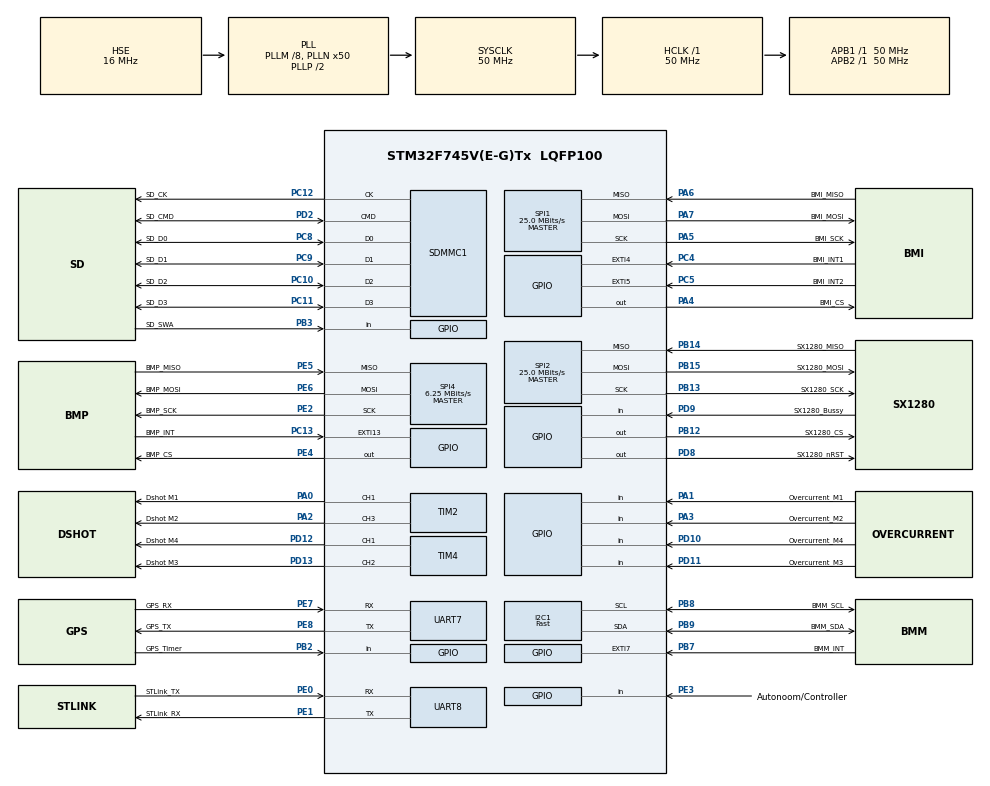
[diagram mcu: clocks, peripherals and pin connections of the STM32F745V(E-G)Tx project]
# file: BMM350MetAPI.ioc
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CORTEX_M7.default_mode_Activation=1
Dma.Request0=TIM4_CH1
Dma.Request1=TIM4_CH2
Dma.Request2=TIM2_UP/CH3
Dma.Request3=TIM2_CH1
Dma.TIM2_CH1.3.Direction=DMA_MEMORY_TO_PERIPH
Dma.TIM2_CH1.3.FIFOMode=DMA_FIFOMODE_DISABLE
Dma.TIM2_CH1.3.Instance=DMA1_Stream5
Dma.TIM2_CH1.3.MemDataAlignment=DMA_MDATAALIGN_WORD
Dma.TIM2_CH1.3.MemInc=DMA_MINC_ENABLE
Dma.TIM2_CH1.3.Mode=DMA_NORMAL
Dma.TIM2_CH1.3.PeriphDataAlignment=DMA_PDATAALIGN_WORD
Dma.TIM2_CH1.3.PeriphInc=DMA_PINC_DISABLE
Dma.TIM2_CH1.3.Priority=DMA_PRIORITY_VERY_HIGH
Dma.TIM2_UP/CH3.2.Direction=DMA_MEMORY_TO_PERIPH
Dma.TIM2_UP/CH3.2.FIFOMode=DMA_FIFOMODE_DISABLE
Dma.TIM2_UP/CH3.2.Instance=DMA1_Stream1
Dma.TIM2_UP/CH3.2.MemDataAlignment=DMA_MDATAALIGN_WORD
Dma.TIM2_UP/CH3.2.MemInc=DMA_MINC_ENABLE
Dma.TIM2_UP/CH3.2.Mode=DMA_NORMAL
Dma.TIM2_UP/CH3.2.PeriphDataAlignment=DMA_PDATAALIGN_WORD
Dma.TIM2_UP/CH3.2.PeriphInc=DMA_PINC_DISABLE
Dma.TIM2_UP/CH3.2.Priority=DMA_PRIORITY_VERY_HIGH
Dma.TIM4_CH1.0.Direction=DMA_MEMORY_TO_PERIPH
Dma.TIM4_CH1.0.FIFOMode=DMA_FIFOMODE_DISABLE
Dma.TIM4_CH1.0.Instance=DMA1_Stream0
Dma.TIM4_CH1.0.MemDataAlignment=DMA_MDATAALIGN_HALFWORD
Dma.TIM4_CH1.0.MemInc=DMA_MINC_ENABLE
Dma.TIM4_CH1.0.Mode=DMA_NORMAL
Dma.TIM4_CH1.0.PeriphDataAlignment=DMA_PDATAALIGN_HALFWORD
Dma.TIM4_CH1.0.PeriphInc=DMA_PINC_DISABLE
Dma.TIM4_CH1.0.Priority=DMA_PRIORITY_VERY_HIGH
Dma.TIM4_CH2.1.Direction=DMA_MEMORY_TO_PERIPH
Dma.TIM4_CH2.1.FIFOMode=DMA_FIFOMODE_DISABLE
Dma.TIM4_CH2.1.Instance=DMA1_Stream3
Dma.TIM4_CH2.1.MemDataAlignment=DMA_MDATAALIGN_HALFWORD
Dma.TIM4_CH2.1.MemInc=DMA_MINC_ENABLE
Dma.TIM4_CH2.1.Mode=DMA_NORMAL
Dma.TIM4_CH2.1.PeriphDataAlignment=DMA_PDATAALIGN_HALFWORD
Dma.TIM4_CH2.1.PeriphInc=DMA_PINC_DISABLE
Dma.TIM4_CH2.1.Priority=DMA_PRIORITY_VERY_HIGH
FATFS.BSP.number=1
FATFS0.BSP.STBoard=false
FATFS0.BSP.api=Unknown
FATFS0.BSP.instance=PB3
FATFS0.BSP.ip=GPIO
FATFS0.BSP.mode=Input
FATFS0.BSP.name=Detect_SDIO
FATFS0.BSP.solution=PB3
I2C1.I2C_Speed_Mode=I2C_Fast
I2C1.Timing=0x00401959
Mcu.Family=STM32F7
Mcu.Name=STM32F745V(E-G)Tx
Mcu.Package=LQFP100
NVIC.DMA1_Stream0_IRQn=true\:0\:0\:false\:false\:true\:false\:true\:true
NVIC.DMA1_Stream1_IRQn=true\:0\:0\:false\:false\:true\:false\:true\:true
NVIC.DMA1_Stream3_IRQn=true\:0\:0\:false\:false\:true\:false\:true\:true
NVIC.DMA1_Stream5_IRQn=true\:0\:0\:false\:false\:true\:false\:true\:true
NVIC.EXTI15_10_IRQn=true\:0\:0\:false\:false\:true\:true\:true\:true
NVIC.EXTI4_IRQn=true\:3\:0\:true\:false\:true\:true\:true\:true
NVIC.EXTI9_5_IRQn=true\:3\:0\:true\:false\:true\:true\:true\:true
NVIC.PriorityGroup=NVIC_PRIORITYGROUP_4
PA0/WKUP.GPIO_Label=Dshot M1
PA0/WKUP.Signal=S_TIM2_CH1_ETR
PA1.GPIO_Label=Overcurrent_M1
PA1.Signal=GPIO_Input
PA13.GPIO_Label=STLink_DIO
PA13.Mode=Serial_Wire
PA13.Signal=SYS_JTMS-SWDIO
PA14.GPIO_Label=STLink_CLK
PA14.Mode=Serial_Wire
PA14.Signal=SYS_JTCK-SWCLK
PA2.GPIO_Label=Dshot M2
PA2.Signal=S_TIM2_CH3
PA3.GPIO_Label=Overcurrent_M2
PA3.Signal=GPIO_Input
PA4.GPIO_Label=BMI_CS
PA4.Signal=GPIO_Output
PA5.GPIO_Label=BMI_SCK
PA5.Mode=Full_Duplex_Master
PA5.Signal=SPI1_SCK
PA6.GPIO_Label=BMI_MISO
PA6.Mode=Full_Duplex_Master
PA6.Signal=SPI1_MISO
PA7.GPIO_Label=BMI_MOSI
PA7.Mode=Full_Duplex_Master
PA7.Signal=SPI1_MOSI
PB12.GPIO_Label=SX1280_CS
PB12.Signal=GPIO_Output
PB13.GPIO_Label=SX1280_SCK
PB13.Mode=Full_Duplex_Master
PB13.Signal=SPI2_SCK
PB14.GPIO_Label=SX1280_MISO
PB14.Mode=Full_Duplex_Master
PB14.Signal=SPI2_MISO
PB15.GPIO_Label=SX1280_MOSI
PB15.Mode=Full_Duplex_Master
PB15.Signal=SPI2_MOSI
PB2.GPIO_Label=GPS_Timer
PB2.Signal=GPIO_Input
PB3.GPIO_Label=SD_SWA
PB3.Signal=GPIO_Input
PB7.GPIO_Label=BMM_INT
PB7.Signal=GPXTI7
PB8.GPIO_Label=BMM_SCL
PB8.Mode=I2C
PB8.Signal=I2C1_SCL
PB9.GPIO_Label=BMM_SDA
PB9.Mode=I2C
PB9.Signal=I2C1_SDA
PC10.GPIO_Label=SD_D2
PC10.Mode=SD_4_bits_Wide_bus
PC10.Signal=SDMMC1_D2
PC11.GPIO_Label=SD_D3
PC11.Mode=SD_4_bits_Wide_bus
PC11.Signal=SDMMC1_D3
PC12.GPIO_Label=SD_CK
PC12.Mode=SD_4_bits_Wide_bus
PC12.Signal=SDMMC1_CK
PC13.GPIO_Label=BMP_INT
PC13.Signal=GPXTI13
PC4.GPIO_Label=BMI_INT1
PC4.Signal=GPXTI4
PC5.GPIO_Label=BMI_INT2
PC5.Signal=GPXTI5
PC8.GPIO_Label=SD_D0
PC8.Mode=SD_4_bits_Wide_bus
PC8.Signal=SDMMC1_D0
PC9.GPIO_Label=SD_D1
PC9.Mode=SD_4_bits_Wide_bus
PC9.Signal=SDMMC1_D1
PD10.GPIO_Label=Overcurrent_M4
PD10.Signal=GPIO_Input
PD11.GPIO_Label=Overcurrent_M3
PD11.Signal=GPIO_Input
PD12.GPIO_Label=Dshot M4
PD12.Signal=S_TIM4_CH1
PD13.GPIO_Label=Dshot M3
PD13.Signal=S_TIM4_CH2
PD2.GPIO_Label=SD_CMD
PD2.Mode=SD_4_bits_Wide_bus
PD2.Signal=SDMMC1_CMD
PD8.GPIO_Label=SX1280_nRST
PD8.Signal=GPIO_Output
PD9.GPIO_Label=SX1280_Bussy
PD9.Signal=GPIO_Input
PE0.GPIO_Label=STLink_TX
PE0.Mode=Asynchronous
PE0.Signal=UART8_RX
PE1.GPIO_Label=STLink_RX
PE1.Mode=Asynchronous
PE1.Signal=UART8_TX
PE2.GPIO_Label=BMP_SCK
PE2.Mode=Full_Duplex_Master
PE2.Signal=SPI4_SCK
PE3.GPIO_Label=Autonoom/Controller
PE3.Signal=GPIO_Input
PE4.GPIO_Label=BMP_CS
PE4.Signal=GPIO_Output
PE5.GPIO_Label=BMP_MISO
PE5.Mode=Full_Duplex_Master
PE5.Signal=SPI4_MISO
PE6.GPIO_Label=BMP_MOSI
PE6.Mode=Full_Duplex_Master
PE6.Signal=SPI4_MOSI
PE7.GPIO_Label=GPS_RX
PE7.Mode=Asynchronous
PE7.Signal=UART7_RX
PE8.GPIO_Label=GPS_TX
PE8.Mode=Asynchronous
PE8.Signal=UART7_TX
PH0/OSC_IN.Mode=HSE-External-Oscillator
PH0/OSC_IN.Signal=RCC_OSC_IN
PH1/OSC_OUT.Mode=HSE-External-Oscillator
PH1/OSC_OUT.Signal=RCC_OSC_OUT
ProjectManager.HeapSize=0x200
ProjectManager.StackSize=0x400
ProjectManager.TargetToolchain=STM32CubeIDE
RCC.AHBFreq_Value=50000000
RCC.APB1Freq_Value=50000000
RCC.APB1TimFreq_Value=50000000
RCC.APB2Freq_Value=50000000
RCC.APB2TimFreq_Value=50000000
RCC.CortexFreq_Value=50000000
RCC.HCLKFreq_Value=50000000
RCC.HSE_VALUE=16000000
RCC.HSI_VALUE=16000000
RCC.LSE_VALUE=32768
RCC.PLLM=8
RCC.PLLN=50
RCC.PLLSourceVirtual=RCC_PLLSOURCE_HSE
RCC.SDMMCClockSelection=RCC_SDMMC1CLKSOURCE_CLK48
RCC.SYSCLKFreq_VALUE=50000000
RCC.SYSCLKSource=RCC_SYSCLKSOURCE_PLLCLK
RCC.USBFreq_Value=50000000
RCC.VCOOutputFreq_Value=100000000
SDMMC1.ClockBypass=SDMMC_CLOCK_BYPASS_DISABLE
SH.S_TIM2_CH1_ETR.0=TIM2_CH1,PWM Generation1 CH1
SH.S_TIM2_CH3.0=TIM2_CH3,PWM Generation3 CH3
SH.S_TIM4_CH1.0=TIM4_CH1,PWM Generation1 CH1
SH.S_TIM4_CH2.0=TIM4_CH2,PWM Generation2 CH2
SPI1.CLKPhase=SPI_PHASE_2EDGE
SPI1.CLKPolarity=SPI_POLARITY_HIGH
SPI1.CalculateBaudRate=25.0 MBits/s
SPI1.DataSize=SPI_DATASIZE_8BIT
SPI1.Direction=SPI_DIRECTION_2LINES
SPI1.Mode=SPI_MODE_MASTER
SPI1.VirtualType=VM_MASTER
SPI2.BaudRatePrescaler=SPI_BAUDRATEPRESCALER_2
SPI2.CalculateBaudRate=25.0 MBits/s
SPI2.DataSize=SPI_DATASIZE_8BIT
SPI2.Direction=SPI_DIRECTION_2LINES
SPI2.Mode=SPI_MODE_MASTER
SPI2.NSSPMode=SPI_NSS_PULSE_DISABLE
SPI2.VirtualType=VM_MASTER
SPI4.BaudRatePrescaler=SPI_BAUDRATEPRESCALER_8
SPI4.CLKPhase=SPI_PHASE_1EDGE
SPI4.CLKPolarity=SPI_POLARITY_LOW
SPI4.CalculateBaudRate=6.25 MBits/s
SPI4.DataSize=SPI_DATASIZE_8BIT
SPI4.Direction=SPI_DIRECTION_2LINES
SPI4.Mode=SPI_MODE_MASTER
SPI4.VirtualType=VM_MASTER
TIM2.Channel-PWM\ Generation1\ CH1=TIM_CHANNEL_1
TIM2.Channel-PWM\ Generation3\ CH3=TIM_CHANNEL_3
TIM4.Channel-PWM\ Generation1\ CH1=TIM_CHANNEL_1
TIM4.Channel-PWM\ Generation2\ CH2=TIM_CHANNEL_2
VP_FATFS_VS_SDIO.Mode=SDIO
board=custom

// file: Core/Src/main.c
/* USER CODE BEGIN Header */
/**
  ******************************************************************************
  * @file           : main.c
  * @brief          : Main program body
  ******************************************************************************
  * @attention
  *
  * Copyright (c) 2026 STMicroelectronics.
  * All rights reserved.
  *
  * This software is licensed under terms that can be found in the LICENSE file
  * in the root directory of this software component.
  * If no LICENSE file comes with this software, it is provided AS-IS.
  *
  ******************************************************************************
  */
/* USER CODE END Header */
#include "main.h"
#include "fatfs.h"

/* USER CODE BEGIN Includes */
#include "stdio.h"
#include "bmm350.h"
#include "bmm350_oor.h"
#include "bmm350_defs.h"
//#include "BMM350.h"
//#include "BMI330.h"
//#include "pid_regulator.h"
/* USER CODE END Includes */

I2C_HandleTypeDef hi2c1;

SD_HandleTypeDef hsd1;

SPI_HandleTypeDef hspi1;
SPI_HandleTypeDef hspi2;
SPI_HandleTypeDef hspi4;

TIM_HandleTypeDef htim2;
TIM_HandleTypeDef htim4;
DMA_HandleTypeDef hdma_tim2_up_ch3;
DMA_HandleTypeDef hdma_tim2_ch1;
DMA_HandleTypeDef hdma_tim4_ch1;
DMA_HandleTypeDef hdma_tim4_ch2;

UART_HandleTypeDef huart7;
UART_HandleTypeDef huart8;

/* USER CODE BEGIN PV */
//BMP384_Calib calibData;
struct bmm350_dev dev;
struct bmm350_raw_mag_data raw_data;
struct bmm350_mag_temp_data comp_data;
struct bmm350_self_test test;

/*
PID_Handle_t struct_PidRateRoll;
PID_Handle_t struct_PidRatePitch;
PID_Handle_t struct_PidRateYaw;
BMM350_MagData BMM350_Data;
BMI330_Frame current_data;
*/

float g_hoogte;
float g_druk;
float g_hoek;
int g_acc;
int g_gyr;
float alpha = 0.98; // hoe hoger hoe meer de acc gaat doortellen
float dt = 0.02;   // voor 50hz
float gefilterde_hoogte = 0;
float verticale_snelheid = 0;
/* USER CODE END PV */

void SystemClock_Config(void);
static void MPU_Config(void);
static void MX_GPIO_Init(void);
static void MX_DMA_Init(void);
static void MX_I2C1_Init(void);
static void MX_SDMMC1_SD_Init(void);
static void MX_SPI1_Init(void);
static void MX_SPI2_Init(void);
static void MX_SPI4_Init(void);
static void MX_TIM2_Init(void);
static void MX_TIM4_Init(void);
static void MX_UART7_Init(void);
static void MX_UART8_Init(void);

/* USER CODE BEGIN 0 */

volatile int g_new_pressure_data = 0;

int _write(int file, char *ptr, int len) {
	for(int i = 0; i < len; i++){
		if(ptr[i]=='\n'){
			HAL_UART_Transmit(&huart8, (uint8_t*)"\r", 1, HAL_MAX_DELAY);
		}
		HAL_UART_Transmit(&huart8, (uint8_t*)&ptr[i], 1, HAL_MAX_DELAY);
	}
    return len;
}
/*
void Update_Altitude_Filter(float baro_hoogte, float acc_z_m_s2) {
    verticale_snelheid += acc_z_m_s2 * dt;
    float voorspelde_hoogte = gefilterde_hoogte + (verticale_snelheid * dt);
    gefilterde_hoogte = (alpha * voorspelde_hoogte) + ((1 - alpha) * baro_hoogte);
}
*/
/* USER CODE END 0 */

int main(void)
{

  /* MPU Configuration--------------------------------------------------------*/
  MPU_Config();

  /* MCU Configuration--------------------------------------------------------*/

  /* Reset of all peripherals, Initializes the Flash interface and the Systick. */
  HAL_Init();

  /* USER CODE BEGIN Init */
 /* Init_RateLoops();
  BMM350_Init();
  PID_HandleInit(struct_PidRateRoll);
  PID_HandleInit(struct_PidRatePitch);
  PID_HandleInit(struct_PidRateYaw);
  */
  //BMI330_Init();
  /* USER CODE END Init */

  /* Configure the system clock */
  SystemClock_Config();

  /* Initialize all configured peripherals */
  MX_GPIO_Init();
  MX_DMA_Init();
  MX_I2C1_Init();
  MX_SDMMC1_SD_Init();
  MX_SPI1_Init();
  MX_SPI2_Init();
  MX_SPI4_Init();
  MX_TIM2_Init();
  MX_TIM4_Init();
  MX_UART7_Init();
  MX_FATFS_Init();
  MX_UART8_Init();
  /* USER CODE BEGIN 2 */
  //BMP384_Init(&calibData);
  uint8_t bmm350_adres = (0x14 << 1); // Gaat uit van ADSEL aan GND
  uint8_t buffer[3] = {0}; // Array voor: dummy1, dummy2, echte_data
  uint8_t chip_id = 0;

  // We lezen nu 3 bytes vanaf register 0x00
  HAL_StatusTypeDef status = HAL_I2C_Mem_Read(&hi2c1, bmm350_adres, 0x00, I2C_MEMADD_SIZE_8BIT, buffer, 3, 100);
  if (status == HAL_OK) {
      chip_id = buffer[2]; // Negeer de twee 0x00 dummy bytes!

      if (chip_id == 0x33) {
          // BINGO! De chip is 100% in orde.
      } else {
          // Wel communicatie, maar geen 0x33. Dit is vreemd.
      }
  } else {
	  printf("Eerste test is fout gegaan, ID: %d\n", chip_id);
	  HAL_Delay(4000);
	  int returnwaarde  = bmm350_init(&dev);
	    while(returnwaarde != 0){
	  	  returnwaarde = bmm350_init(&dev);
	  	printf("Tweede test is fout gegaan, ID: %d\n", chip_id);
	  		  HAL_Delay(4000);
	    };
      // FOUT! status is geen HAL_OK. Nu is er wél iets mis met de hardware.
  }
  HAL_Delay(4000);
  printf("Init klaar \n");
  bmm350_set_powermode(BMM350_NORMAL_MODE, &dev);
  bmm350_set_odr_performance(BMM350_DATA_RATE_50HZ, BMM350_NO_AVERAGING, &dev);
  bmm350_enable_axes(BMM350_X_EN, BMM350_Y_EN, BMM350_Z_EN, &dev);
  bmm350_enable_interrupt(BMM350_ENABLE_INTERRUPT, &dev);
  bmm350_configure_interrupt(BMM350_PULSED , BMM350_ACTIVE_HIGH , BMM350_INTR_PUSH_PULL , BMM350_MAP_TO_PIN, &dev);
  bmm350_read_uncomp_mag_temp_data(&raw_data, &dev);
  bmm350_set_int_ctrl_ibi(BMM350_IBI_ENABLE, BMM350_CLEAR_ON_IBI, &dev);
  bmm350_get_compensated_mag_xyz_temp_data(&comp_data, &dev);
  bmm350_perform_self_test(&test, &dev);
  bmm350_set_i2c_wdt(BMM350_I2C_WDT_DIS, BMM350_I2C_WDT_SEL_SHORT , &dev);
  /* USER CODE END 2 */

  /* Infinite loop */
  /* USER CODE BEGIN WHILE */
  while (1)
  {
	  bmm350_read_uncomp_mag_temp_data(&raw_data, &dev);
	  printf("Raw Data: X: %lu, Y: %lu, Z: %lu, Extra: %lu\n", raw_data.raw_xdata, raw_data.raw_ydata, raw_data.raw_zdata, raw_data.raw_data_t);
	  bmm350_get_compensated_mag_xyz_temp_data(&comp_data, &dev);
	  printf("Comp Data: X: %f, Y: %f, Z: %f, temp: %f\n", comp_data.x, comp_data.y, comp_data.z, comp_data.temperature);
	  bmm350_perform_self_test(&test, &dev);
	  printf("Comp Data: X: %f, XH: %f, XL: %f, Y: %f, YH: %f, YL: %f\n", test.out_ust_x, test.out_ust_xh, test.out_ust_xl, test.out_ust_y, test.out_ust_yh, test.out_ust_yl);

    /* USER CODE END WHILE */

  }
}

void SystemClock_Config(void)
{
  RCC_OscInitTypeDef RCC_OscInitStruct = {0};
  RCC_ClkInitTypeDef RCC_ClkInitStruct = {0};

  /** Configure the main internal regulator output voltage
  */
  __HAL_RCC_PWR_CLK_ENABLE();
  __HAL_PWR_VOLTAGESCALING_CONFIG(PWR_REGULATOR_VOLTAGE_SCALE3);

  /** Initializes the RCC Oscillators according to the specified parameters
  * in the RCC_OscInitTypeDef structure.
  */
  RCC_OscInitStruct.OscillatorType = RCC_OSCILLATORTYPE_HSE;
  RCC_OscInitStruct.HSEState = RCC_HSE_ON;
  RCC_OscInitStruct.PLL.PLLState = RCC_PLL_ON;
  RCC_OscInitStruct.PLL.PLLSource = RCC_PLLSOURCE_HSE;
  RCC_OscInitStruct.PLL.PLLM = 8;
  RCC_OscInitStruct.PLL.PLLN = 50;
  RCC_OscInitStruct.PLL.PLLP = RCC_PLLP_DIV2;
  RCC_OscInitStruct.PLL.PLLQ = 2;
  if (HAL_RCC_OscConfig(&RCC_OscInitStruct) != HAL_OK)
  {
    Error_Handler();
  }

  /** Activate the Over-Drive mode
  */
  if (HAL_PWREx_EnableOverDrive() != HAL_OK)
  {
    Error_Handler();
  }

  /** Initializes the CPU, AHB and APB buses clocks
  */
  RCC_ClkInitStruct.ClockType = RCC_CLOCKTYPE_HCLK|RCC_CLOCKTYPE_SYSCLK
                              |RCC_CLOCKTYPE_PCLK1|RCC_CLOCKTYPE_PCLK2;
  RCC_ClkInitStruct.SYSCLKSource = RCC_SYSCLKSOURCE_PLLCLK;
  RCC_ClkInitStruct.AHBCLKDivider = RCC_SYSCLK_DIV1;
  RCC_ClkInitStruct.APB1CLKDivider = RCC_HCLK_DIV1;
  RCC_ClkInitStruct.APB2CLKDivider = RCC_HCLK_DIV1;

  if (HAL_RCC_ClockConfig(&RCC_ClkInitStruct, FLASH_LATENCY_1) != HAL_OK)
  {
    Error_Handler();
  }
}

static void MX_I2C1_Init(void)
{

  hi2c1.Instance = I2C1;
  hi2c1.Init.Timing = 0x00401959;
  hi2c1.Init.OwnAddress1 = 0;
  hi2c1.Init.AddressingMode = I2C_ADDRESSINGMODE_7BIT;
  hi2c1.Init.DualAddressMode = I2C_DUALADDRESS_DISABLE;
  hi2c1.Init.OwnAddress2 = 0;
  hi2c1.Init.OwnAddress2Masks = I2C_OA2_NOMASK;
  hi2c1.Init.GeneralCallMode = I2C_GENERALCALL_DISABLE;
  hi2c1.Init.NoStretchMode = I2C_NOSTRETCH_DISABLE;
  if (HAL_I2C_Init(&hi2c1) != HAL_OK)
  {
    Error_Handler();
  }

  /** Configure Analogue filter
  */
  if (HAL_I2CEx_ConfigAnalogFilter(&hi2c1, I2C_ANALOGFILTER_ENABLE) != HAL_OK)
  {
    Error_Handler();
  }

  /** Configure Digital filter
  */
  if (HAL_I2CEx_ConfigDigitalFilter(&hi2c1, 0) != HAL_OK)
  {
    Error_Handler();
  }

}

static void MX_SDMMC1_SD_Init(void)
{

  hsd1.Instance = SDMMC1;
  hsd1.Init.ClockEdge = SDMMC_CLOCK_EDGE_RISING;
  hsd1.Init.ClockBypass = SDMMC_CLOCK_BYPASS_DISABLE;
  hsd1.Init.ClockPowerSave = SDMMC_CLOCK_POWER_SAVE_DISABLE;
  hsd1.Init.BusWide = SDMMC_BUS_WIDE_1B;
  hsd1.Init.HardwareFlowControl = SDMMC_HARDWARE_FLOW_CONTROL_DISABLE;
  hsd1.Init.ClockDiv = 0;

}

static void MX_SPI1_Init(void)
{

  /* SPI1 parameter configuration*/
  hspi1.Instance = SPI1;
  hspi1.Init.Mode = SPI_MODE_MASTER;
  hspi1.Init.Direction = SPI_DIRECTION_2LINES;
  hspi1.Init.DataSize = SPI_DATASIZE_8BIT;
  hspi1.Init.CLKPolarity = SPI_POLARITY_HIGH;
  hspi1.Init.CLKPhase = SPI_PHASE_2EDGE;
  hspi1.Init.NSS = SPI_NSS_SOFT;
  hspi1.Init.BaudRatePrescaler = SPI_BAUDRATEPRESCALER_2;
  hspi1.Init.FirstBit = SPI_FIRSTBIT_MSB;
  hspi1.Init.TIMode = SPI_TIMODE_DISABLE;
  hspi1.Init.CRCCalculation = SPI_CRCCALCULATION_DISABLE;
  hspi1.Init.CRCPolynomial = 7;
  hspi1.Init.CRCLength = SPI_CRC_LENGTH_DATASIZE;
  hspi1.Init.NSSPMode = SPI_NSS_PULSE_DISABLE;
  if (HAL_SPI_Init(&hspi1) != HAL_OK)
  {
    Error_Handler();
  }

}

static void MX_SPI2_Init(void)
{

  /* SPI2 parameter configuration*/
  hspi2.Instance = SPI2;
  hspi2.Init.Mode = SPI_MODE_MASTER;
  hspi2.Init.Direction = SPI_DIRECTION_2LINES;
  hspi2.Init.DataSize = SPI_DATASIZE_8BIT;
  hspi2.Init.CLKPolarity = SPI_POLARITY_LOW;
  hspi2.Init.CLKPhase = SPI_PHASE_1EDGE;
  hspi2.Init.NSS = SPI_NSS_SOFT;
  hspi2.Init.BaudRatePrescaler = SPI_BAUDRATEPRESCALER_2;
  hspi2.Init.FirstBit = SPI_FIRSTBIT_MSB;
  hspi2.Init.TIMode = SPI_TIMODE_DISABLE;
  hspi2.Init.CRCCalculation = SPI_CRCCALCULATION_DISABLE;
  hspi2.Init.CRCPolynomial = 7;
  hspi2.Init.CRCLength = SPI_CRC_LENGTH_DATASIZE;
  hspi2.Init.NSSPMode = SPI_NSS_PULSE_DISABLE;
  if (HAL_SPI_Init(&hspi2) != HAL_OK)
  {
    Error_Handler();
  }

}

static void MX_SPI4_Init(void)
{

  /* SPI4 parameter configuration*/
  hspi4.Instance = SPI4;
  hspi4.Init.Mode = SPI_MODE_MASTER;
  hspi4.Init.Direction = SPI_DIRECTION_2LINES;
  hspi4.Init.DataSize = SPI_DATASIZE_8BIT;
  hspi4.Init.CLKPolarity = SPI_POLARITY_LOW;
  hspi4.Init.CLKPhase = SPI_PHASE_1EDGE;
  hspi4.Init.NSS = SPI_NSS_SOFT;
  hspi4.Init.BaudRatePrescaler = SPI_BAUDRATEPRESCALER_8;
  hspi4.Init.FirstBit = SPI_FIRSTBIT_MSB;
  hspi4.Init.TIMode = SPI_TIMODE_DISABLE;
  hspi4.Init.CRCCalculation = SPI_CRCCALCULATION_DISABLE;
  hspi4.Init.CRCPolynomial = 7;
  hspi4.Init.CRCLength = SPI_CRC_LENGTH_DATASIZE;
  hspi4.Init.NSSPMode = SPI_NSS_PULSE_ENABLE;
  if (HAL_SPI_Init(&hspi4) != HAL_OK)
  {
    Error_Handler();
  }

}

static void MX_TIM2_Init(void)
{

  TIM_MasterConfigTypeDef sMasterConfig = {0};
  TIM_OC_InitTypeDef sConfigOC = {0};

  htim2.Instance = TIM2;
  htim2.Init.Prescaler = 0;
  htim2.Init.CounterMode = TIM_COUNTERMODE_UP;
  htim2.Init.Period = 4294967295;
  htim2.Init.ClockDivision = TIM_CLOCKDIVISION_DIV1;
  htim2.Init.AutoReloadPreload = TIM_AUTORELOAD_PRELOAD_DISABLE;
  if (HAL_TIM_PWM_Init(&htim2) != HAL_OK)
  {
    Error_Handler();
  }
  sMasterConfig.MasterOutputTrigger = TIM_TRGO_RESET;
  sMasterConfig.MasterSlaveMode = TIM_MASTERSLAVEMODE_DISABLE;
  if (HAL_TIMEx_MasterConfigSynchronization(&htim2, &sMasterConfig) != HAL_OK)
  {
    Error_Handler();
  }
  sConfigOC.OCMode = TIM_OCMODE_PWM1;
  sConfigOC.Pulse = 0;
  sConfigOC.OCPolarity = TIM_OCPOLARITY_HIGH;
  sConfigOC.OCFastMode = TIM_OCFAST_DISABLE;
  if (HAL_TIM_PWM_ConfigChannel(&htim2, &sConfigOC, TIM_CHANNEL_1) != HAL_OK)
  {
    Error_Handler();
  }
  if (HAL_TIM_PWM_ConfigChannel(&htim2, &sConfigOC, TIM_CHANNEL_3) != HAL_OK)
  {
    Error_Handler();
  }
  HAL_TIM_MspPostInit(&htim2);

}

static void MX_TIM4_Init(void)
{

  TIM_MasterConfigTypeDef sMasterConfig = {0};
  TIM_OC_InitTypeDef sConfigOC = {0};

  htim4.Instance = TIM4;
  htim4.Init.Prescaler = 0;
  htim4.Init.CounterMode = TIM_COUNTERMODE_UP;
  htim4.Init.Period = 65535;
  htim4.Init.ClockDivision = TIM_CLOCKDIVISION_DIV1;
  htim4.Init.AutoReloadPreload = TIM_AUTORELOAD_PRELOAD_DISABLE;
  if (HAL_TIM_PWM_Init(&htim4) != HAL_OK)
  {
    Error_Handler();
  }
  sMasterConfig.MasterOutputTrigger = TIM_TRGO_RESET;
  sMasterConfig.MasterSlaveMode = TIM_MASTERSLAVEMODE_DISABLE;
  if (HAL_TIMEx_MasterConfigSynchronization(&htim4, &sMasterConfig) != HAL_OK)
  {
    Error_Handler();
  }
  sConfigOC.OCMode = TIM_OCMODE_PWM1;
  sConfigOC.Pulse = 0;
  sConfigOC.OCPolarity = TIM_OCPOLARITY_HIGH;
  sConfigOC.OCFastMode = TIM_OCFAST_DISABLE;
  if (HAL_TIM_PWM_ConfigChannel(&htim4, &sConfigOC, TIM_CHANNEL_1) != HAL_OK)
  {
    Error_Handler();
  }
  if (HAL_TIM_PWM_ConfigChannel(&htim4, &sConfigOC, TIM_CHANNEL_2) != HAL_OK)
  {
    Error_Handler();
  }
  HAL_TIM_MspPostInit(&htim4);

}

static void MX_UART7_Init(void)
{

  huart7.Instance = UART7;
  huart7.Init.BaudRate = 115200;
  huart7.Init.WordLength = UART_WORDLENGTH_8B;
  huart7.Init.StopBits = UART_STOPBITS_1;
  huart7.Init.Parity = UART_PARITY_NONE;
  huart7.Init.Mode = UART_MODE_TX_RX;
  huart7.Init.HwFlowCtl = UART_HWCONTROL_NONE;
  huart7.Init.OverSampling = UART_OVERSAMPLING_16;
  huart7.Init.OneBitSampling = UART_ONE_BIT_SAMPLE_DISABLE;
  huart7.AdvancedInit.AdvFeatureInit = UART_ADVFEATURE_NO_INIT;
  if (HAL_UART_Init(&huart7) != HAL_OK)
  {
    Error_Handler();
  }

}

static void MX_UART8_Init(void)
{

  huart8.Instance = UART8;
  huart8.Init.BaudRate = 115200;
  huart8.Init.WordLength = UART_WORDLENGTH_8B;
  huart8.Init.StopBits = UART_STOPBITS_1;
  huart8.Init.Parity = UART_PARITY_NONE;
  huart8.Init.Mode = UART_MODE_TX_RX;
  huart8.Init.HwFlowCtl = UART_HWCONTROL_NONE;
  huart8.Init.OverSampling = UART_OVERSAMPLING_16;
  huart8.Init.OneBitSampling = UART_ONE_BIT_SAMPLE_DISABLE;
  huart8.AdvancedInit.AdvFeatureInit = UART_ADVFEATURE_NO_INIT;
  if (HAL_UART_Init(&huart8) != HAL_OK)
  {
    Error_Handler();
  }

}

static void MX_DMA_Init(void)
{

  /* DMA controller clock enable */
  __HAL_RCC_DMA1_CLK_ENABLE();

  /* DMA interrupt init */
  /* DMA1_Stream0_IRQn interrupt configuration */
  HAL_NVIC_SetPriority(DMA1_Stream0_IRQn, 0, 0);
  HAL_NVIC_EnableIRQ(DMA1_Stream0_IRQn);
  /* DMA1_Stream1_IRQn interrupt configuration */
  HAL_NVIC_SetPriority(DMA1_Stream1_IRQn, 0, 0);
  HAL_NVIC_EnableIRQ(DMA1_Stream1_IRQn);
  /* DMA1_Stream3_IRQn interrupt configuration */
  HAL_NVIC_SetPriority(DMA1_Stream3_IRQn, 0, 0);
  HAL_NVIC_EnableIRQ(DMA1_Stream3_IRQn);
  /* DMA1_Stream5_IRQn interrupt configuration */
  HAL_NVIC_SetPriority(DMA1_Stream5_IRQn, 0, 0);
  HAL_NVIC_EnableIRQ(DMA1_Stream5_IRQn);

}

static void MX_GPIO_Init(void)
{
  GPIO_InitTypeDef GPIO_InitStruct = {0};

  /* GPIO Ports Clock Enable */
  __HAL_RCC_GPIOE_CLK_ENABLE();
  __HAL_RCC_GPIOC_CLK_ENABLE();
  __HAL_RCC_GPIOH_CLK_ENABLE();
  __HAL_RCC_GPIOA_CLK_ENABLE();
  __HAL_RCC_GPIOB_CLK_ENABLE();
  __HAL_RCC_GPIOD_CLK_ENABLE();

  /*Configure GPIO pin Output Level */
  HAL_GPIO_WritePin(BMP_CS_GPIO_Port, BMP_CS_Pin, GPIO_PIN_RESET);

  /*Configure GPIO pin Output Level */
  HAL_GPIO_WritePin(BMI_CS_GPIO_Port, BMI_CS_Pin, GPIO_PIN_RESET);

  /*Configure GPIO pin Output Level */
  HAL_GPIO_WritePin(SX1280_CS_GPIO_Port, SX1280_CS_Pin, GPIO_PIN_RESET);

  /*Configure GPIO pin Output Level */
  HAL_GPIO_WritePin(SX1280_nRST_GPIO_Port, SX1280_nRST_Pin, GPIO_PIN_RESET);

  /*Configure GPIO pin : Autonoom_Controller_Pin */
  GPIO_InitStruct.Pin = Autonoom_Controller_Pin;
  GPIO_InitStruct.Mode = GPIO_MODE_INPUT;
  GPIO_InitStruct.Pull = GPIO_NOPULL;
  HAL_GPIO_Init(Autonoom_Controller_GPIO_Port, &GPIO_InitStruct);

  /*Configure GPIO pin : BMP_CS_Pin */
  GPIO_InitStruct.Pin = BMP_CS_Pin;
  GPIO_InitStruct.Mode = GPIO_MODE_OUTPUT_PP;
  GPIO_InitStruct.Pull = GPIO_NOPULL;
  GPIO_InitStruct.Speed = GPIO_SPEED_FREQ_LOW;
  HAL_GPIO_Init(BMP_CS_GPIO_Port, &GPIO_InitStruct);

  /*Configure GPIO pins : BMP_INT_Pin BMI_INT1_Pin BMI_INT2_Pin */
  GPIO_InitStruct.Pin = BMP_INT_Pin|BMI_INT1_Pin|BMI_INT2_Pin;
  GPIO_InitStruct.Mode = GPIO_MODE_IT_RISING;
  GPIO_InitStruct.Pull = GPIO_NOPULL;
  HAL_GPIO_Init(GPIOC, &GPIO_InitStruct);

  /*Configure GPIO pins : Overcurrent_M1_Pin Overcurrent_M2_Pin */
  GPIO_InitStruct.Pin = Overcurrent_M1_Pin|Overcurrent_M2_Pin;
  GPIO_InitStruct.Mode = GPIO_MODE_INPUT;
  GPIO_InitStruct.Pull = GPIO_NOPULL;
  HAL_GPIO_Init(GPIOA, &GPIO_InitStruct);

  /*Configure GPIO pin : BMI_CS_Pin */
  GPIO_InitStruct.Pin = BMI_CS_Pin;
  GPIO_InitStruct.Mode = GPIO_MODE_OUTPUT_PP;
  GPIO_InitStruct.Pull = GPIO_NOPULL;
  GPIO_InitStruct.Speed = GPIO_SPEED_FREQ_LOW;
  HAL_GPIO_Init(BMI_CS_GPIO_Port, &GPIO_InitStruct);

  /*Configure GPIO pins : GPS_Timer_Pin SD_SWA_Pin */
  GPIO_InitStruct.Pin = GPS_Timer_Pin|SD_SWA_Pin;
  GPIO_InitStruct.Mode = GPIO_MODE_INPUT;
  GPIO_InitStruct.Pull = GPIO_NOPULL;
  HAL_GPIO_Init(GPIOB, &GPIO_InitStruct);

  /*Configure GPIO pin : SX1280_CS_Pin */
  GPIO_InitStruct.Pin = SX1280_CS_Pin;
  GPIO_InitStruct.Mode = GPIO_MODE_OUTPUT_PP;
  GPIO_InitStruct.Pull = GPIO_NOPULL;
  GPIO_InitStruct.Speed = GPIO_SPEED_FREQ_LOW;
  HAL_GPIO_Init(SX1280_CS_GPIO_Port, &GPIO_InitStruct);

  /*Configure GPIO pin : SX1280_nRST_Pin */
  GPIO_InitStruct.Pin = SX1280_nRST_Pin;
  GPIO_InitStruct.Mode = GPIO_MODE_OUTPUT_PP;
  GPIO_InitStruct.Pull = GPIO_NOPULL;
  GPIO_InitStruct.Speed = GPIO_SPEED_FREQ_LOW;
  HAL_GPIO_Init(SX1280_nRST_GPIO_Port, &GPIO_InitStruct);

  /*Configure GPIO pins : SX1280_Bussy_Pin Overcurrent_M4_Pin Overcurrent_M3_Pin */
  GPIO_InitStruct.Pin = SX1280_Bussy_Pin|Overcurrent_M4_Pin|Overcurrent_M3_Pin;
  GPIO_InitStruct.Mode = GPIO_MODE_INPUT;
  GPIO_InitStruct.Pull = GPIO_NOPULL;
  HAL_GPIO_Init(GPIOD, &GPIO_InitStruct);

  /*Configure GPIO pin : BMM_INT_Pin */
  GPIO_InitStruct.Pin = BMM_INT_Pin;
  GPIO_InitStruct.Mode = GPIO_MODE_IT_RISING;
  GPIO_InitStruct.Pull = GPIO_NOPULL;
  HAL_GPIO_Init(BMM_INT_GPIO_Port, &GPIO_InitStruct);

  /* EXTI interrupt init*/
  HAL_NVIC_SetPriority(EXTI4_IRQn, 3, 0);
  HAL_NVIC_EnableIRQ(EXTI4_IRQn);

  HAL_NVIC_SetPriority(EXTI9_5_IRQn, 3, 0);
  HAL_NVIC_EnableIRQ(EXTI9_5_IRQn);

  HAL_NVIC_SetPriority(EXTI15_10_IRQn, 0, 0);
  HAL_NVIC_EnableIRQ(EXTI15_10_IRQn);

}

/* USER CODE BEGIN 4 */
/*
void Update_Motors(uint16_t throttle, int16_t roll, int16_t pitch, int16_t yaw) {
    int16_t m1 = throttle + pitch + roll - yaw; // Linksvoor
    int16_t m2 = throttle + pitch - roll + yaw; // Rechtsvoor
    int16_t m3 = throttle - pitch + roll + yaw; // Linksachter
    int16_t m4 = throttle - pitch - roll - yaw; // Rechtsachter
}
*/
void HAL_GPIO_EXTI_Callback(uint16_t GPIO_Pin)
{
/*
    if (GPIO_Pin == GPIO_PIN_4)	//INT1 van BMI
    {
    	float data[15];
    	int len = 15;
    	float roll, pitch;
    	BMI330_ReadFIFO(data, len);
    	BMI330_ParseFIFOFrame(&data, &current_data);
    	BMI330_GetAngles(current_data, roll, pitch);

    	printf("Data van de BMI INT1 pin: \n");
    	printf("Gyro data: X = %f, Y = %f, Z = %f \n", current_data->gyr_x, current_data->gyr_y, current_data->gyr_z);
    	printf("acc  data: X = %f, Y = %f, Z = %f \n", current_data->acc_x, current_data->acc_y, current_data->acc_z);
    	printf("temp: %f \n\n\n\n", current_data->sensor_temp);
    	g_temp = current_data->sensor_temp;
    	g_roll = roll;
    	g_pitch = pitch;
    	return;
    }

    if (GPIO_Pin == GPIO_PIN_5)	//INT2 van BMI
    {
    	return;
    }
    if (GPIO_Pin == GPIO_PIN_7)	//INT van BMM350
    {
    	float roll, pitch;
    	BMI330_GetAngles(current_data, &roll, &pitch);
    	BMM350_GetData(&BMM350_Data, roll, pitch);
    	float hoek = BMM350_Data.richting;

    	// calibrate is iets wat we eenmalig moeten doen, hieruit halen we de vaste ofset waardes die we daarna kunnen gebruiken
    	BMM350_Calibrate(BMM350_Data.x, BMM350_Data.y, BMM350_Data.z, BMM350_Data.x_offset, BMM350_Data.y_offset, BMM350_Data.z_offset);
    	printf("BMM350 Data: \n");
    	printf("BMM350 Raw Data: x = %d, Y = %d, Z = %d \n\n", BMM350_Data.x, BMM350_Data.y, BMM350_Data.z);

    	// enkel de laatste offset meting is belangerijk want dan heb je de uiterste bereikt
    	printf("BMM350 offsets Data: x = %d, Y = %d, Z = %d \n\n\n\n", BMM350_Data.x_offset, BMM350_Data.y_offset, BMM350_Data.z_offset);

    	g_hoek = hoek;
    	return;
    }
    if (GPIO_Pin == GPIO_PIN_13) //INT van BMP
    {
    	float druk = BMP384_ReadData();
    	float hoogte = BMP384_CalculateAltitude(druk);

    	printf("BMP384 Data: \n");
    	printf("BMP druk = %f, hoogte = %f", druk, hoogte);
    	g_druk = druk;
    	g_hoogte = hoogte;
    	return;
    }
*/
	if (GPIO_Pin == GPIO_PIN_13)	//INT van BMP
    	{
			g_new_pressure_data = 1;
    		return;
    	}
}
/* USER CODE END 4 */

 /* MPU Configuration */

void MPU_Config(void)
{
  MPU_Region_InitTypeDef MPU_InitStruct = {0};

  /* Disables the MPU */
  HAL_MPU_Disable();

  /** Initializes and configures the Region and the memory to be protected
  */
  MPU_InitStruct.Enable = MPU_REGION_ENABLE;
  MPU_InitStruct.Number = MPU_REGION_NUMBER0;
  MPU_InitStruct.BaseAddress = 0x0;
  MPU_InitStruct.Size = MPU_REGION_SIZE_4GB;
  MPU_InitStruct.SubRegionDisable = 0x87;
  MPU_InitStruct.TypeExtField = MPU_TEX_LEVEL0;
  MPU_InitStruct.AccessPermission = MPU_REGION_NO_ACCESS;
  MPU_InitStruct.DisableExec = MPU_INSTRUCTION_ACCESS_DISABLE;
  MPU_InitStruct.IsShareable = MPU_ACCESS_SHAREABLE;
  MPU_InitStruct.IsCacheable = MPU_ACCESS_NOT_CACHEABLE;
  MPU_InitStruct.IsBufferable = MPU_ACCESS_NOT_BUFFERABLE;

  HAL_MPU_ConfigRegion(&MPU_InitStruct);
  /* Enables the MPU */
  HAL_MPU_Enable(MPU_PRIVILEGED_DEFAULT);

}

void Error_Handler(void)
{
  __disable_irq();
  while (1)
  {
  }
}
